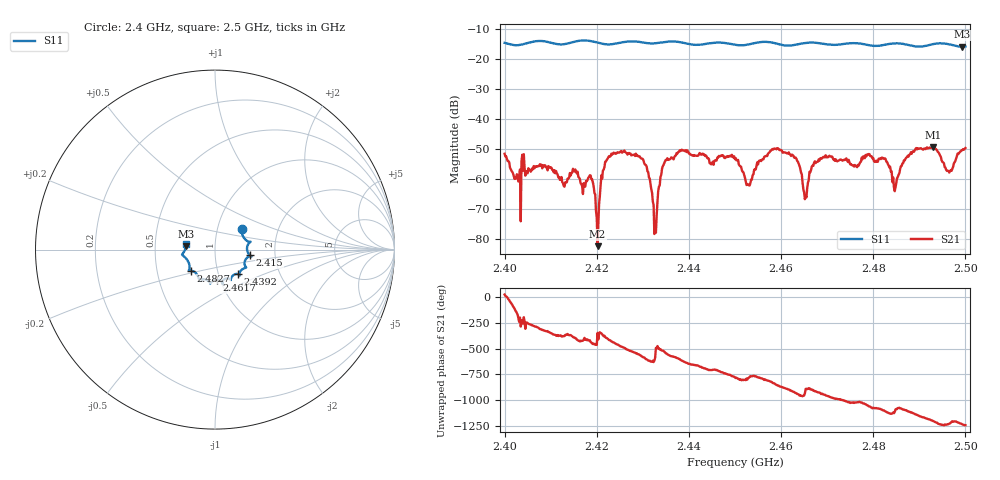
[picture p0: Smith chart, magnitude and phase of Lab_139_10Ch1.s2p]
# Hz S RI R 50
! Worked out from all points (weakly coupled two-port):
!   601 points, 2.4 GHz to 2.5 GHz, reference 50 ohm
!   highest |S21| = -49.16 dB at 2.493 GHz (marker M1); lowest = -82.2 dB at 2.4202 GHz (marker M2)
!   lowest |S11| = -15.7 dB at 2.4993 GHz (marker M3), VSWR 1.39, Z = 36 + j1.41 ohm
!   |S11| at or under -10 dB: start of sweep to end of sweep
!   S12 and S22 are empty: the file has one direction only
!   S11 on the Smith chart (normalised r, x): 2.4 GHz: 1.31, +0.31; 2.415 GHz: 1.48, -0.10; 2.4392 GHz: 1.24, -0.35; 2.4617 GHz: 0.96, -0.34; 2.4827 GHz: 0.75, -0.18; 2.5 GHz: 0.72, +0.05
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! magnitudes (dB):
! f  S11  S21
! 2.4 GHz  -14.4  -51.4
! 2.403 GHz  -15.2  -60.7
! 2.415 GHz  -14.2  -57.1
! 2.4167 GHz  -13.7  -61.6
! 2.4188 GHz  -13.9  -59.9
! 2.4202 GHz  -14.4  -82.2
! 2.4218 GHz  -14.9  -54.1
! 2.4248 GHz  -14.5  -51.1
! 2.4333 GHz  -14.5  -63.9
! 2.4348 GHz  -14.2  -53.9
! 2.4392 GHz  -14.6  -50.6
! 2.45 GHz  -15.1  -53.2
! 2.4528 GHz  -15.0  -61.6
! 2.4617 GHz  -15.4  -51.0
! 2.4652 GHz  -14.5  -66.6
! 2.4667 GHz  -14.4  -55.7
! 2.4827 GHz  -15.1  -53.1
! 2.4833 GHz  -14.9  -55.3
! 2.493 GHz  -14.9  -49.2
! 2.4965 GHz  -14.9  -57.7
! 2.4993 GHz  -15.7  -50.2
! 2.5 GHz  -15.7  -49.5
